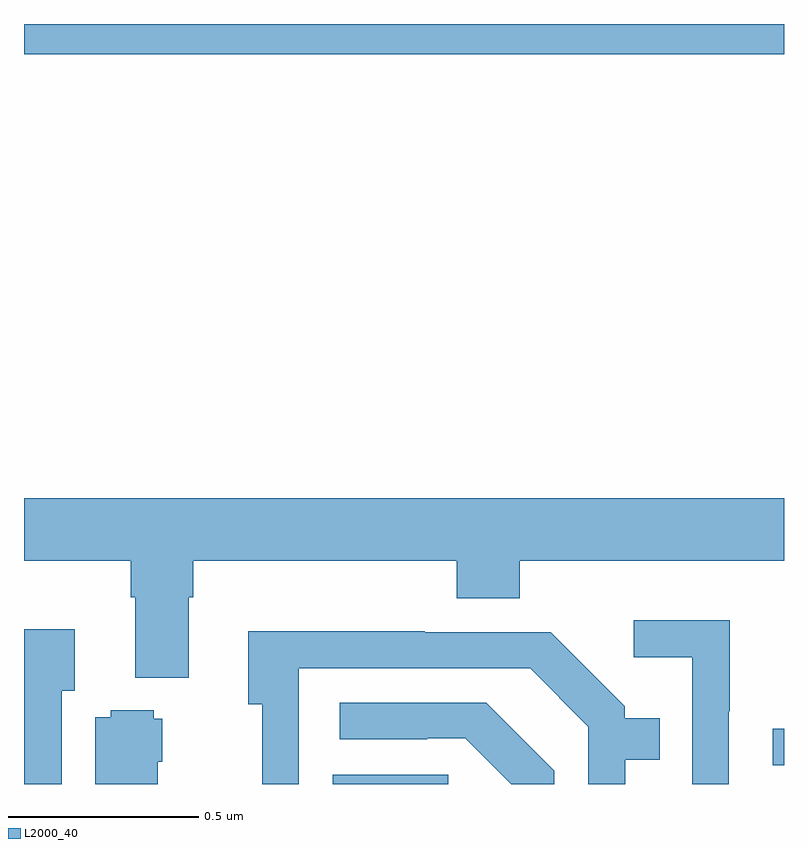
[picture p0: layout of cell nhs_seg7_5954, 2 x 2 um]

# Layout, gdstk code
import gdstk
lib = gdstk.Library(unit=1e-6, precision=1e-09)
def R(c, l, rs):  # rectangles x0, y0, x1, y1
    for r in rs: c.add(gdstk.rectangle(r[:2], r[2:], *l))
def P(c, l, *ps):  # polygons
    for p in ps: c.add(gdstk.Polygon(p, *l))
L2000_40 = (2000, 40)

nhs_seg7_5954 = lib.new_cell('nhs_seg7_5954')
R(nhs_seg7_5954, L2000_40, [(192.812,1028,193.117,1028.025), (193.971,1028.049,194,1028.145), (192,1029.92,194,1030)])
P(nhs_seg7_5954, L2000_40, [(192.433,1028.492),(192.446,1028.492),(192.446,1028.588),(193.139,1028.588),(193.139,1028.489),(193.304,1028.489),(193.304,1028.588),(194,1028.588),(194,1028.752),(192,1028.752),(192,1028.588),(192.281,1028.588),(192.281,1028.492),(192.293,1028.492),(192.293,1028.279),(192.433,1028.279)],
  [(193.854,1028.192),(193.857,1028.192),(193.857,1028.431),(193.605,1028.431),(193.605,1028.333),(193.758,1028.333),(193.758,1028),(193.854,1028)],
  [(192.099,1028.246),(192.133,1028.246),(192.133,1028.407),(192,1028.407),(192,1028),(192.099,1028)],
  [(192.723,1028.304),(193.332,1028.304),(193.485,1028.151),(193.485,1028),(193.582,1028),(193.582,1028.064),(193.673,1028.064),(193.673,1028.173),(193.581,1028.173),(193.581,1028.205),(193.386,1028.4),(193.055,1028.4),(193.055,1028.402),(192.59,1028.402),(192.59,1028.21),(192.627,1028.21),(192.627,1028),(192.723,1028)],
  [(193.395,1028.035),(193.216,1028.214),(192.831,1028.214),(192.831,1028.118),(193.061,1028.118),(193.061,1028.121),(193.161,1028.121),(193.282,1028),(193.395,1028)],
  [(192.352,1028.058),(192.364,1028.058),(192.364,1028.172),(192.342,1028.172),(192.342,1028.194),(192.228,1028.194),(192.228,1028.176),(192.188,1028.176),(192.188,1028),(192.352,1028)])

lib.write_gds('nhs_seg7_5954.gds')
